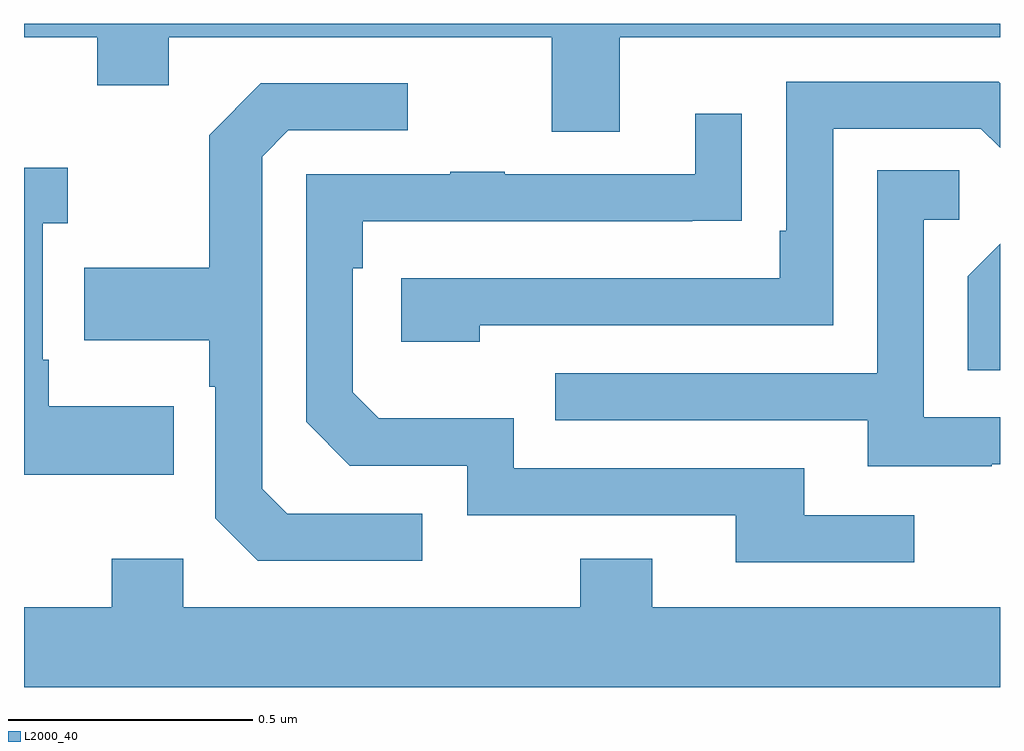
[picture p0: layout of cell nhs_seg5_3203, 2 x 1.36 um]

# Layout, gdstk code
import gdstk
lib = gdstk.Library(unit=1e-6, precision=1e-09)
def P(c, l, *ps):  # polygons
    for p in ps: c.add(gdstk.Polygon(p, *l))
L2000_40 = (2000, 40)

nhs_seg5_3203 = lib.new_cell('nhs_seg5_3203')
P(nhs_seg5_3203, L2000_40, [(155.221,844.772),(156,844.772),(156,844.799),(154,844.799),(154,844.772),(154.15,844.772),(154.15,844.673),(154.297,844.673),(154.297,844.772),(155.081,844.772),(155.081,844.578),(155.221,844.578)],
  [(154.934,844.182),(155.658,844.182),(155.658,844.584),(155.961,844.584),(156,844.545),(156,844.677),(155.997,844.68),(155.562,844.68),(155.562,844.375),(155.549,844.375),(155.549,844.278),(154.773,844.278),(154.773,844.148),(154.934,844.148)],
  [(154.816,843.795),(154.539,843.795),(154.488,843.846),(154.488,844.527),(154.542,844.581),(154.786,844.581),(154.786,844.677),(154.485,844.677),(154.38,844.571),(154.38,844.299),(154.123,844.299),(154.123,844.151),(154.38,844.151),(154.38,844.055),(154.392,844.055),(154.392,843.786),(154.479,843.699),(154.816,843.699)],
  [(155.824,843.792),(155.599,843.792),(155.599,843.888),(155.004,843.888),(155.004,843.991),(154.727,843.991),(154.674,844.044),(154.674,844.298),(154.694,844.298),(154.694,844.395),(155.369,844.395),(155.369,844.396),(155.471,844.396),(155.471,844.615),(155.375,844.615),(155.375,844.491),(154.985,844.491),(154.985,844.496),(154.873,844.496),(154.873,844.491),(154.578,844.491),(154.578,843.984),(154.668,843.894),(154.908,843.894),(154.908,843.792),(155.459,843.792),(155.459,843.696),(155.824,843.696)],
  [(154.307,844.015),(154.051,844.015),(154.051,844.111),(154.038,844.111),(154.038,844.391),(154.09,844.391),(154.09,844.504),(154,844.504),(154,843.875),(154.307,843.875)],
  [(155.983,843.897),(156,843.897),(156,843.993),(155.844,843.993),(155.844,844.398),(155.917,844.398),(155.917,844.499),(155.748,844.499),(155.748,844.083),(155.089,844.083),(155.089,843.987),(155.729,843.987),(155.729,843.893),(155.983,843.893)],
  [(156,844.348),(155.934,844.282),(155.934,844.089),(156,844.089)],
  [(156,843.604),(155.287,843.604),(155.287,843.703),(155.14,843.703),(155.14,843.604),(154.326,843.604),(154.326,843.703),(154.18,843.703),(154.18,843.604),(154,843.604),(154,843.44),(156,843.44)])

lib.write_gds('nhs_seg5_3203.gds')
